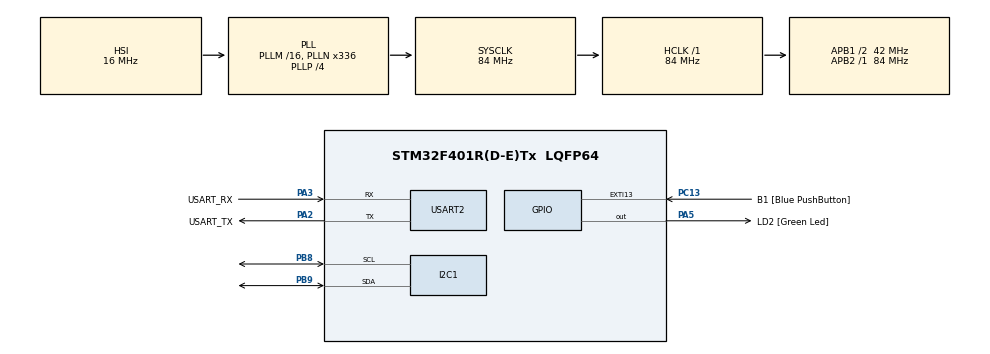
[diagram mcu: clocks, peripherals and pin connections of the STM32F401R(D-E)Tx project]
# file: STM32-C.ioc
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I2C1.I2C_Mode=I2C_Standard
Mcu.Family=STM32F4
Mcu.Name=STM32F401R(D-E)Tx
Mcu.Package=LQFP64
NVIC.PriorityGroup=NVIC_PRIORITYGROUP_0
NVIC.TIM1_TRG_COM_TIM11_IRQn=true\:0\:0\:false\:false\:true\:true\:true
PA13.GPIO_Label=TMS
PA13.Mode=Serial_Wire
PA13.Signal=SYS_JTMS-SWDIO
PA14.GPIO_Label=TCK
PA14.Mode=Serial_Wire
PA14.Signal=SYS_JTCK-SWCLK
PA2.GPIO_Label=USART_TX
PA2.GPIO_Mode=GPIO_MODE_AF_PP
PA2.GPIO_PuPd=GPIO_NOPULL
PA2.GPIO_Speed=GPIO_SPEED_FREQ_LOW
PA2.Mode=Asynchronous
PA2.Signal=USART2_TX
PA3.GPIO_Label=USART_RX
PA3.GPIO_Mode=GPIO_MODE_AF_PP
PA3.GPIO_PuPd=GPIO_NOPULL
PA3.GPIO_Speed=GPIO_SPEED_FREQ_LOW
PA3.Mode=Asynchronous
PA3.Signal=USART2_RX
PA5.GPIO_Label=LD2 [Green Led]
PA5.GPIO_Mode=GPIO_MODE_OUTPUT_PP
PA5.GPIO_PuPd=GPIO_NOPULL
PA5.GPIO_Speed=GPIO_SPEED_FREQ_LOW
PA5.Signal=GPIO_Output
PB3.GPIO_Label=SWO
PB3.Signal=SYS_JTDO-SWO
PB8.Mode=I2C
PB8.Signal=I2C1_SCL
PB9.Mode=I2C
PB9.Signal=I2C1_SDA
PC13-ANTI_TAMP.GPIO_Label=B1 [Blue PushButton]
PC13-ANTI_TAMP.GPIO_ModeDefaultEXTI=GPIO_MODE_IT_FALLING
PC13-ANTI_TAMP.GPIO_PuPd=GPIO_NOPULL
PC13-ANTI_TAMP.Signal=GPXTI13
PC14-OSC32_IN.Mode=LSE-External-Oscillator
PC14-OSC32_IN.Signal=RCC_OSC32_IN
PC15-OSC32_OUT.Mode=LSE-External-Oscillator
PC15-OSC32_OUT.Signal=RCC_OSC32_OUT
PH0\ -\ OSC_IN.Mode=HSE-External-Clock-Source
PH0\ -\ OSC_IN.Signal=RCC_OSC_IN
PH1\ -\ OSC_OUT.Mode=HSE-External-Clock-Source
PH1\ -\ OSC_OUT.Signal=RCC_OSC_OUT
ProjectManager.HeapSize=0x200
ProjectManager.StackSize=0x400
ProjectManager.TargetToolchain=STM32CubeIDE
RCC.48MHZClocksFreq_Value=48000000
RCC.AHBFreq_Value=84000000
RCC.APB1CLKDivider=RCC_HCLK_DIV2
RCC.APB1Freq_Value=42000000
RCC.APB1TimFreq_Value=84000000
RCC.APB2Freq_Value=84000000
RCC.APB2TimFreq_Value=84000000
RCC.CortexFreq_Value=84000000
RCC.HCLKFreq_Value=84000000
RCC.HSE_VALUE=8000000
RCC.HSI_VALUE=16000000
RCC.PLLN=336
RCC.PLLP=RCC_PLLP_DIV4
RCC.PLLQ=7
RCC.SYSCLKFreq_VALUE=84000000
RCC.SYSCLKSource=RCC_SYSCLKSOURCE_PLLCLK
RCC.VCOOutputFreq_Value=336000000
TIM11.Period=40-1
TIM11.Prescaler=8400-1
USART2.VirtualMode=VM_ASYNC
VP_TIM11_VS_ClockSourceINT.Mode=Enable_Timer
board=NUCLEO-F401RE

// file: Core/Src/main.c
/* USER CODE BEGIN Header */
/**
 ******************************************************************************
 * @file           : main.c
 * @brief          : Main program body
 ******************************************************************************
 * @attention
 *
 * Copyright (c) 2022 STMicroelectronics.
 * All rights reserved.
 *
 * This software is licensed under terms that can be found in the LICENSE file
 * in the root directory of this software component.
 * If no LICENSE file comes with this software, it is provided AS-IS.
 *
 ******************************************************************************
 */
/* USER CODE END Header */
#include "main.h"
#include "i2c.h"
#include "tim.h"
#include "usart.h"
#include "gpio.h"

/* USER CODE BEGIN Includes */
#include "string.h"
#include "stdio.h"
#include "MPUXX50.h"

/* USER CODE END Includes */

/* USER CODE BEGIN PD */
#define TRUE  1
#define FLASE 0

#define SAMPLE_RATE_S 0.004
#define TAU 0.98

#define LED_PIN   GPIO_PIN_5
#define LED_PORT  GPIOA

uint8_t serialBuf[25];

/* USER CODE END PD */

void SystemClock_Config(void);

int main(void)
{

  /* MCU Configuration--------------------------------------------------------*/

  /* Reset of all peripherals, Initializes the Flash interface and the Systick. */
  HAL_Init();

  /* Configure the system clock */
  SystemClock_Config();

  /* Initialize all configured peripherals */
  MX_GPIO_Init();
  MX_USART2_UART_Init();
  MX_I2C1_Init();
  MX_TIM11_Init();
  /* USER CODE BEGIN 2 */

  // Check if IMU configured properly and block if it didn't
  if (MPU_begin(&hi2c1, AD0_LOW, AFS_4G, GFS_500DPS, TAU, SAMPLE_RATE_S) == TRUE)
  {
    HAL_GPIO_WritePin(LED_PORT, LED_PIN, 1);
  }
  else
  {
    sprintf((char *)serialBuf, "ERROR!\r\n");
    HAL_UART_Transmit(&huart2, serialBuf, strlen((char *)serialBuf), HAL_MAX_DELAY);
    while (1)
    {
      HAL_GPIO_TogglePin(LED_PORT, LED_PIN);
      HAL_Delay(500);
    }
  }

  // Calibrate the IMU
  sprintf((char *)serialBuf, "CALIBRATING...\r\n");
  HAL_UART_Transmit(&huart2, serialBuf, strlen((char *)serialBuf), HAL_MAX_DELAY);
  MPU_calibrateGyro(&hi2c1, 2000);

  // Start timer and put processor into an efficient low power mode
  HAL_TIM_Base_Start_IT(&htim11);
  HAL_PWR_EnableSleepOnExit();
  HAL_PWR_EnterSLEEPMode(PWR_MAINREGULATOR_ON, PWR_SLEEPENTRY_WFI);

  /* USER CODE END 2 */

  /* Infinite loop */
  /* USER CODE BEGIN WHILE */
  //  while (1)
  //  {
    /* USER CODE END WHILE */

    /* USER CODE BEGIN 3 */
  //  }
  /* USER CODE END 3 */
}

void SystemClock_Config(void)
{
  RCC_OscInitTypeDef RCC_OscInitStruct = {0};
  RCC_ClkInitTypeDef RCC_ClkInitStruct = {0};

  /** Configure the main internal regulator output voltage
  */
  __HAL_RCC_PWR_CLK_ENABLE();
  __HAL_PWR_VOLTAGESCALING_CONFIG(PWR_REGULATOR_VOLTAGE_SCALE2);
  /** Initializes the RCC Oscillators according to the specified parameters
  * in the RCC_OscInitTypeDef structure.
  */
  RCC_OscInitStruct.OscillatorType = RCC_OSCILLATORTYPE_HSI;
  RCC_OscInitStruct.HSIState = RCC_HSI_ON;
  RCC_OscInitStruct.HSICalibrationValue = RCC_HSICALIBRATION_DEFAULT;
  RCC_OscInitStruct.PLL.PLLState = RCC_PLL_ON;
  RCC_OscInitStruct.PLL.PLLSource = RCC_PLLSOURCE_HSI;
  RCC_OscInitStruct.PLL.PLLM = 16;
  RCC_OscInitStruct.PLL.PLLN = 336;
  RCC_OscInitStruct.PLL.PLLP = RCC_PLLP_DIV4;
  RCC_OscInitStruct.PLL.PLLQ = 7;
  if (HAL_RCC_OscConfig(&RCC_OscInitStruct) != HAL_OK)
  {
    Error_Handler();
  }
  /** Initializes the CPU, AHB and APB buses clocks
  */
  RCC_ClkInitStruct.ClockType = RCC_CLOCKTYPE_HCLK|RCC_CLOCKTYPE_SYSCLK
                              |RCC_CLOCKTYPE_PCLK1|RCC_CLOCKTYPE_PCLK2;
  RCC_ClkInitStruct.SYSCLKSource = RCC_SYSCLKSOURCE_PLLCLK;
  RCC_ClkInitStruct.AHBCLKDivider = RCC_SYSCLK_DIV1;
  RCC_ClkInitStruct.APB1CLKDivider = RCC_HCLK_DIV2;
  RCC_ClkInitStruct.APB2CLKDivider = RCC_HCLK_DIV1;

  if (HAL_RCC_ClockConfig(&RCC_ClkInitStruct, FLASH_LATENCY_2) != HAL_OK)
  {
    Error_Handler();
  }
}

/* USER CODE BEGIN 4 */

// Callback: timer has rolled over
void HAL_TIM_PeriodElapsedCallback(TIM_HandleTypeDef *htim)
{
  // Check if timer has triggered and update attitude
  if (htim == &htim11)
  {
    HAL_ResumeTick();

    MPU_calcAttitude(&hi2c1);
    sprintf((char *)serialBuf, "%.1f,%.1f,%.1f\r\n", attitude.r, attitude.p, attitude.y);
    HAL_UART_Transmit(&huart2, serialBuf, strlen((char *)serialBuf), HAL_MAX_DELAY);

    HAL_SuspendTick();
  }
}

/* USER CODE END 4 */

void Error_Handler(void)
{
  __disable_irq();
  while (1)
  {
  }
}
